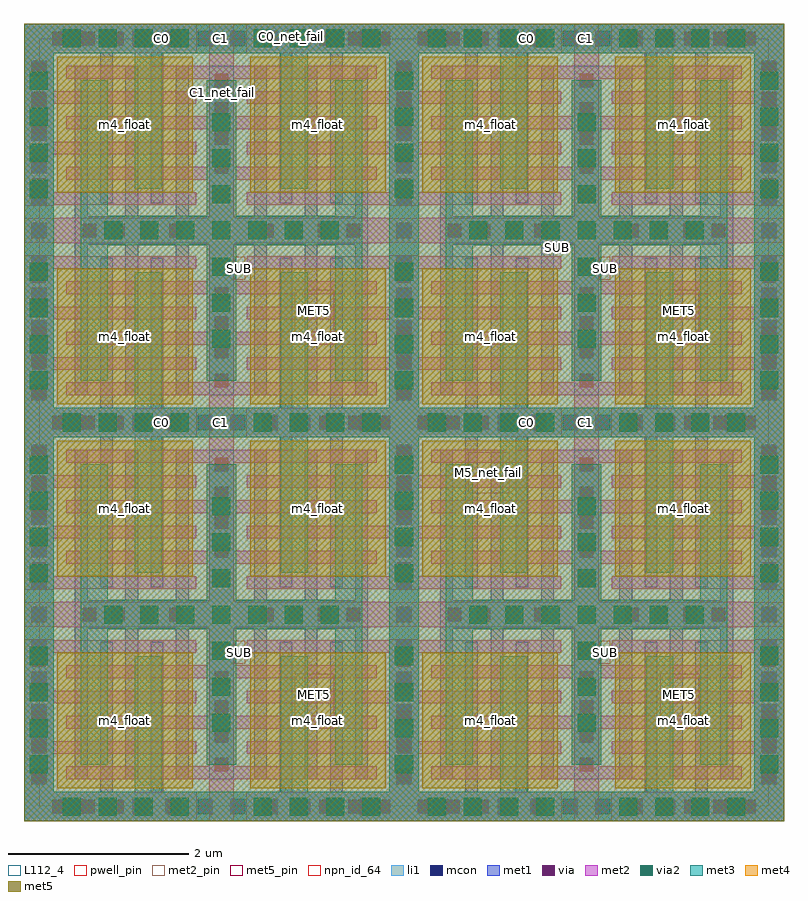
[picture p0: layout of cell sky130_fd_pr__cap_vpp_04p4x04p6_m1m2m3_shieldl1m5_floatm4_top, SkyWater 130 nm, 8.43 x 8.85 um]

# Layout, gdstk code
import gdstk
lib = gdstk.Library(unit=1e-6, precision=1e-09)
def R(c, l, rs):  # rectangles x0, y0, x1, y1
    for r in rs: c.add(gdstk.rectangle(r[:2], r[2:], *l))
def A(c, l, x, y, w, h, nx, ny, dx, dy):  # array of equal rectangles
    R(c, l, [(x+i*dx, y+j*dy, x+i*dx+w, y+j*dy+h) for i in range(nx) for j in range(ny)])
def P(c, l, *ps):  # polygons
    for p in ps: c.add(gdstk.Polygon(p, *l))
li1 = (67, 20)
mcon = (67, 44)
met1 = (68, 20)
via = (68, 44)
met2_pin = (69, 16)
met2 = (69, 20)
via2 = (69, 44)
met3 = (70, 20)
met4 = (71, 20)
met5_pin = (72, 16)
met5 = (72, 20)
npn_id_64 = (82, 64)
L112_4 = (112, 4)
pwell_pin = (122, 16)

sky130_fd_pr__cap_vpp_04 = lib.new_cell('sky130_fd_pr__cap_vpp_04p4x04p6_m1m2m3_shieldl1m5_floatm4_top')
R(sky130_fd_pr__cap_vpp_04, li1, [(0,0,4.38,4.59), (4.05,0,8.43,4.59), (0,4.26,4.38,8.85), (4.05,4.26,8.43,8.85)])
A(sky130_fd_pr__cap_vpp_04, mcon, 0.485, 0.08, 0.17, 0.17, 10, 2, 0.36, 8.52)
A(sky130_fd_pr__cap_vpp_04, mcon, 4.535, 0.08, 0.17, 0.17, 10, 2, 0.36, 8.52)
A(sky130_fd_pr__cap_vpp_04, mcon, 0.08, 0.41, 0.17, 0.17, 1, 11, 0, 0.36)
A(sky130_fd_pr__cap_vpp_04, mcon, 8.18, 0.41, 0.17, 0.17, 1, 11, 0, 0.36)
A(sky130_fd_pr__cap_vpp_04, mcon, 0.08, 4.67, 0.17, 0.17, 1, 11, 0, 0.36)
A(sky130_fd_pr__cap_vpp_04, mcon, 8.18, 4.67, 0.17, 0.17, 1, 11, 0, 0.36)
R(sky130_fd_pr__cap_vpp_04, mcon, [(4.13,0.41,4.3,0.58), (4.13,0.41,4.3,0.58), (4.13,0.77,4.3,0.94), (4.13,0.77,4.3,0.94), (4.13,1.13,4.3,1.3), (4.13,1.13,4.3,1.3), (4.13,1.49,4.3,1.66), (4.13,1.49,4.3,1.66), (4.13,1.85,4.3,2.02), (4.13,1.85,4.3,2.02), (4.13,2.21,4.3,2.38), (4.13,2.21,4.3,2.38), (4.13,2.57,4.3,2.74), (4.13,2.57,4.3,2.74), (4.13,2.93,4.3,3.1), (4.13,2.93,4.3,3.1), (4.13,3.29,4.3,3.46), (4.13,3.29,4.3,3.46), (4.13,3.65,4.3,3.82), (4.13,3.65,4.3,3.82), (4.13,4.01,4.3,4.18), (4.13,4.01,4.3,4.18), (0.485,4.34,0.655,4.51), (0.485,4.34,0.655,4.51), (0.845,4.34,1.015,4.51), (0.845,4.34,1.015,4.51), (1.205,4.34,1.375,4.51), (1.205,4.34,1.375,4.51), (1.565,4.34,1.735,4.51), (1.565,4.34,1.735,4.51), (1.925,4.34,2.095,4.51), (1.925,4.34,2.095,4.51), (2.285,4.34,2.455,4.51), (2.285,4.34,2.455,4.51), (2.645,4.34,2.815,4.51), (2.645,4.34,2.815,4.51), (3.005,4.34,3.175,4.51), (3.005,4.34,3.175,4.51), (3.365,4.34,3.535,4.51), (3.365,4.34,3.535,4.51), (3.725,4.34,3.895,4.51), (3.725,4.34,3.895,4.51), (4.535,4.34,4.705,4.51), (4.535,4.34,4.705,4.51), (4.895,4.34,5.065,4.51), (4.895,4.34,5.065,4.51), (5.255,4.34,5.425,4.51), (5.255,4.34,5.425,4.51), (5.615,4.34,5.785,4.51), (5.615,4.34,5.785,4.51), (5.975,4.34,6.145,4.51), (5.975,4.34,6.145,4.51), (6.335,4.34,6.505,4.51), (6.335,4.34,6.505,4.51), (6.695,4.34,6.865,4.51), (6.695,4.34,6.865,4.51), (7.055,4.34,7.225,4.51), (7.055,4.34,7.225,4.51), (7.415,4.34,7.585,4.51), (7.415,4.34,7.585,4.51), (7.775,4.34,7.945,4.51), (7.775,4.34,7.945,4.51), (4.13,4.67,4.3,4.84), (4.13,4.67,4.3,4.84), (4.13,5.03,4.3,5.2), (4.13,5.03,4.3,5.2), (4.13,5.39,4.3,5.56), (4.13,5.39,4.3,5.56), (4.13,5.75,4.3,5.92), (4.13,5.75,4.3,5.92), (4.13,6.11,4.3,6.28), (4.13,6.11,4.3,6.28), (4.13,6.47,4.3,6.64), (4.13,6.47,4.3,6.64), (4.13,6.83,4.3,7), (4.13,6.83,4.3,7), (4.13,7.19,4.3,7.36), (4.13,7.19,4.3,7.36), (4.13,7.55,4.3,7.72), (4.13,7.55,4.3,7.72), (4.13,7.91,4.3,8.08), (4.13,7.91,4.3,8.08), (4.13,8.27,4.3,8.44), (4.13,8.27,4.3,8.44)])
P(sky130_fd_pr__cap_vpp_04, met1, [(0.565,0.47),(0.565,4.12),(0.705,4.12),(0.705,2.455),(1.125,2.455),(1.125,4.12),(1.265,4.12),(1.265,2.455),(1.685,2.455),(1.685,4.12),(1.825,4.12),(1.825,2.455),(2.055,2.455),(2.055,4.12),(2.325,4.12),(2.325,2.455),(2.555,2.455),(2.555,4.12),(2.695,4.12),(2.695,2.455),(3.115,2.455),(3.115,4.12),(3.255,4.12),(3.255,2.455),(3.675,2.455),(3.675,4.12),(3.815,4.12),(3.815,0.47),(3.675,0.47),(3.675,2.135),(3.255,2.135),(3.255,0.47),(3.115,0.47),(3.115,2.135),(2.695,2.135),(2.695,0.47),(2.555,0.47),(2.555,2.135),(2.325,2.135),(2.325,0.47),(2.055,0.47),(2.055,2.135),(1.825,2.135),(1.825,0.47),(1.685,0.47),(1.685,2.135),(1.265,2.135),(1.265,0.47),(1.125,0.47),(1.125,2.135),(0.705,2.135),(0.705,0.47)],
  [(0,0),(0,4.59),(4.05,4.59),(4.05,4.26),(3.535,4.26),(3.535,2.595),(3.395,2.595),(3.395,4.26),(2.975,4.26),(2.975,2.595),(2.835,2.595),(2.835,4.26),(1.545,4.26),(1.545,2.595),(1.405,2.595),(1.405,4.26),(0.985,4.26),(0.985,2.595),(0.845,2.595),(0.845,4.26),(0.33,4.26),(0.33,0.33),(0.845,0.33),(0.845,1.995),(0.985,1.995),(0.985,0.33),(1.405,0.33),(1.405,1.995),(1.545,1.995),(1.545,0.33),(2.835,0.33),(2.835,1.995),(2.975,1.995),(2.975,0.33),(3.395,0.33),(3.395,1.995),(3.535,1.995),(3.535,0.33),(4.05,0.33),(4.05,4.59),(4.38,4.59),(4.38,0)],
  [(0.565,4.73),(0.565,8.38),(0.705,8.38),(0.705,6.715),(1.125,6.715),(1.125,8.38),(1.265,8.38),(1.265,6.715),(1.685,6.715),(1.685,8.38),(1.825,8.38),(1.825,6.715),(2.055,6.715),(2.055,8.38),(2.325,8.38),(2.325,6.715),(2.555,6.715),(2.555,8.38),(2.695,8.38),(2.695,6.715),(3.115,6.715),(3.115,8.38),(3.255,8.38),(3.255,6.715),(3.675,6.715),(3.675,8.38),(3.815,8.38),(3.815,4.73),(3.675,4.73),(3.675,6.395),(3.255,6.395),(3.255,4.73),(3.115,4.73),(3.115,6.395),(2.695,6.395),(2.695,4.73),(2.555,4.73),(2.555,6.395),(2.325,6.395),(2.325,4.73),(2.055,4.73),(2.055,6.395),(1.825,6.395),(1.825,4.73),(1.685,4.73),(1.685,6.395),(1.265,6.395),(1.265,4.73),(1.125,4.73),(1.125,6.395),(0.705,6.395),(0.705,4.73)],
  [(0,4.26),(0,8.85),(4.05,8.85),(4.05,8.52),(3.535,8.52),(3.535,6.855),(3.395,6.855),(3.395,8.52),(2.975,8.52),(2.975,6.855),(2.835,6.855),(2.835,8.52),(1.545,8.52),(1.545,6.855),(1.405,6.855),(1.405,8.52),(0.985,8.52),(0.985,6.855),(0.845,6.855),(0.845,8.52),(0.33,8.52),(0.33,4.59),(0.845,4.59),(0.845,6.255),(0.985,6.255),(0.985,4.59),(1.405,4.59),(1.405,6.255),(1.545,6.255),(1.545,4.59),(2.835,4.59),(2.835,6.255),(2.975,6.255),(2.975,4.59),(3.395,4.59),(3.395,6.255),(3.535,6.255),(3.535,4.59),(4.05,4.59),(4.05,8.85),(4.38,8.85),(4.38,4.26)],
  [(4.615,0.47),(4.615,4.12),(4.755,4.12),(4.755,2.455),(5.175,2.455),(5.175,4.12),(5.315,4.12),(5.315,2.455),(5.735,2.455),(5.735,4.12),(5.875,4.12),(5.875,2.455),(6.105,2.455),(6.105,4.12),(6.375,4.12),(6.375,2.455),(6.605,2.455),(6.605,4.12),(6.745,4.12),(6.745,2.455),(7.165,2.455),(7.165,4.12),(7.305,4.12),(7.305,2.455),(7.725,2.455),(7.725,4.12),(7.865,4.12),(7.865,0.47),(7.725,0.47),(7.725,2.135),(7.305,2.135),(7.305,0.47),(7.165,0.47),(7.165,2.135),(6.745,2.135),(6.745,0.47),(6.605,0.47),(6.605,2.135),(6.375,2.135),(6.375,0.47),(6.105,0.47),(6.105,2.135),(5.875,2.135),(5.875,0.47),(5.735,0.47),(5.735,2.135),(5.315,2.135),(5.315,0.47),(5.175,0.47),(5.175,2.135),(4.755,2.135),(4.755,0.47)],
  [(4.05,0),(4.05,4.59),(8.1,4.59),(8.1,4.26),(7.585,4.26),(7.585,2.595),(7.445,2.595),(7.445,4.26),(7.025,4.26),(7.025,2.595),(6.885,2.595),(6.885,4.26),(5.595,4.26),(5.595,2.595),(5.455,2.595),(5.455,4.26),(5.035,4.26),(5.035,2.595),(4.895,2.595),(4.895,4.26),(4.38,4.26),(4.38,0.33),(4.895,0.33),(4.895,1.995),(5.035,1.995),(5.035,0.33),(5.455,0.33),(5.455,1.995),(5.595,1.995),(5.595,0.33),(6.885,0.33),(6.885,1.995),(7.025,1.995),(7.025,0.33),(7.445,0.33),(7.445,1.995),(7.585,1.995),(7.585,0.33),(8.1,0.33),(8.1,4.59),(8.43,4.59),(8.43,0)],
  [(4.615,4.73),(4.615,8.38),(4.755,8.38),(4.755,6.715),(5.175,6.715),(5.175,8.38),(5.315,8.38),(5.315,6.715),(5.735,6.715),(5.735,8.38),(5.875,8.38),(5.875,6.715),(6.105,6.715),(6.105,8.38),(6.375,8.38),(6.375,6.715),(6.605,6.715),(6.605,8.38),(6.745,8.38),(6.745,6.715),(7.165,6.715),(7.165,8.38),(7.305,8.38),(7.305,6.715),(7.725,6.715),(7.725,8.38),(7.865,8.38),(7.865,4.73),(7.725,4.73),(7.725,6.395),(7.305,6.395),(7.305,4.73),(7.165,4.73),(7.165,6.395),(6.745,6.395),(6.745,4.73),(6.605,4.73),(6.605,6.395),(6.375,6.395),(6.375,4.73),(6.105,4.73),(6.105,6.395),(5.875,6.395),(5.875,4.73),(5.735,4.73),(5.735,6.395),(5.315,6.395),(5.315,4.73),(5.175,4.73),(5.175,6.395),(4.755,6.395),(4.755,4.73)],
  [(4.05,4.26),(4.05,8.85),(8.1,8.85),(8.1,8.52),(7.585,8.52),(7.585,6.855),(7.445,6.855),(7.445,8.52),(7.025,8.52),(7.025,6.855),(6.885,6.855),(6.885,8.52),(5.595,8.52),(5.595,6.855),(5.455,6.855),(5.455,8.52),(5.035,8.52),(5.035,6.855),(4.895,6.855),(4.895,8.52),(4.38,8.52),(4.38,4.59),(4.895,4.59),(4.895,6.255),(5.035,6.255),(5.035,4.59),(5.455,4.59),(5.455,6.255),(5.595,6.255),(5.595,4.59),(6.885,4.59),(6.885,6.255),(7.025,6.255),(7.025,4.59),(7.445,4.59),(7.445,6.255),(7.585,6.255),(7.585,4.59),(8.1,4.59),(8.1,8.85),(8.43,8.85),(8.43,4.26)])
A(sky130_fd_pr__cap_vpp_04, via, 0.09, 0.435, 0.15, 0.15, 1, 5, 0, 0.32)
A(sky130_fd_pr__cap_vpp_04, via, 8.19, 0.435, 0.15, 0.15, 1, 5, 0, 0.32)
A(sky130_fd_pr__cap_vpp_04, via, 2.115, 0.555, 0.15, 0.15, 1, 5, 0, 0.32)
A(sky130_fd_pr__cap_vpp_04, via, 6.165, 0.555, 0.15, 0.15, 1, 5, 0, 0.32)
A(sky130_fd_pr__cap_vpp_04, via, 0.65, 2.22, 0.15, 0.15, 4, 2, 0.32, 4.26)
A(sky130_fd_pr__cap_vpp_04, via, 2.62, 2.22, 0.15, 0.15, 4, 2, 0.32, 4.26)
A(sky130_fd_pr__cap_vpp_04, via, 4.7, 2.22, 0.15, 0.15, 4, 2, 0.32, 4.26)
A(sky130_fd_pr__cap_vpp_04, via, 6.67, 2.22, 0.15, 0.15, 4, 2, 0.32, 4.26)
A(sky130_fd_pr__cap_vpp_04, via, 2.115, 2.605, 0.15, 0.15, 1, 5, 0, 0.32)
A(sky130_fd_pr__cap_vpp_04, via, 6.165, 2.605, 0.15, 0.15, 1, 5, 0, 0.32)
A(sky130_fd_pr__cap_vpp_04, via, 0.09, 2.725, 0.15, 0.15, 1, 5, 0, 0.32)
A(sky130_fd_pr__cap_vpp_04, via, 8.19, 2.725, 0.15, 0.15, 1, 5, 0, 0.32)
A(sky130_fd_pr__cap_vpp_04, via, 0.09, 4.695, 0.15, 0.15, 1, 5, 0, 0.32)
A(sky130_fd_pr__cap_vpp_04, via, 8.19, 4.695, 0.15, 0.15, 1, 5, 0, 0.32)
A(sky130_fd_pr__cap_vpp_04, via, 2.115, 4.815, 0.15, 0.15, 1, 5, 0, 0.32)
A(sky130_fd_pr__cap_vpp_04, via, 6.165, 4.815, 0.15, 0.15, 1, 5, 0, 0.32)
A(sky130_fd_pr__cap_vpp_04, via, 2.115, 6.865, 0.15, 0.15, 1, 5, 0, 0.32)
A(sky130_fd_pr__cap_vpp_04, via, 6.165, 6.865, 0.15, 0.15, 1, 5, 0, 0.32)
A(sky130_fd_pr__cap_vpp_04, via, 0.09, 6.985, 0.15, 0.15, 1, 5, 0, 0.32)
A(sky130_fd_pr__cap_vpp_04, via, 8.19, 6.985, 0.15, 0.15, 1, 5, 0, 0.32)
R(sky130_fd_pr__cap_vpp_04, via, [(0.315,0.09,0.465,0.24), (0.315,0.09,0.465,0.24), (0.635,0.09,0.785,0.24), (0.635,0.09,0.785,0.24), (0.955,0.09,1.105,0.24), (0.955,0.09,1.105,0.24), (1.275,0.09,1.425,0.24), (1.275,0.09,1.425,0.24), (1.595,0.09,1.745,0.24), (1.595,0.09,1.745,0.24), (2.635,0.09,2.785,0.24), (2.635,0.09,2.785,0.24), (2.955,0.09,3.105,0.24), (2.955,0.09,3.105,0.24), (3.275,0.09,3.425,0.24), (3.275,0.09,3.425,0.24), (3.595,0.09,3.745,0.24), (3.595,0.09,3.745,0.24), (3.915,0.09,4.065,0.24), (3.915,0.09,4.065,0.24), (4.365,0.09,4.515,0.24), (4.365,0.09,4.515,0.24), (4.685,0.09,4.835,0.24), (4.685,0.09,4.835,0.24), (5.005,0.09,5.155,0.24), (5.005,0.09,5.155,0.24), (5.325,0.09,5.475,0.24), (5.325,0.09,5.475,0.24), (5.645,0.09,5.795,0.24), (5.645,0.09,5.795,0.24), (6.685,0.09,6.835,0.24), (6.685,0.09,6.835,0.24), (7.005,0.09,7.155,0.24), (7.005,0.09,7.155,0.24), (7.325,0.09,7.475,0.24), (7.325,0.09,7.475,0.24), (7.645,0.09,7.795,0.24), (7.645,0.09,7.795,0.24), (7.965,0.09,8.115,0.24), (7.965,0.09,8.115,0.24), (4.14,0.435,4.29,0.585), (4.14,0.435,4.29,0.585), (4.14,0.755,4.29,0.905), (4.14,0.755,4.29,0.905), (4.14,1.075,4.29,1.225), (4.14,1.075,4.29,1.225), (4.14,1.395,4.29,1.545), (4.14,1.395,4.29,1.545), (4.14,1.715,4.29,1.865), (4.14,1.715,4.29,1.865), (4.14,2.725,4.29,2.875), (4.14,2.725,4.29,2.875), (4.14,3.045,4.29,3.195), (4.14,3.045,4.29,3.195), (4.14,3.365,4.29,3.515), (4.14,3.365,4.29,3.515), (4.14,3.685,4.29,3.835), (4.14,3.685,4.29,3.835), (4.14,4.005,4.29,4.155), (4.14,4.005,4.29,4.155), (0.315,4.35,0.465,4.5), (0.315,4.35,0.465,4.5), (0.315,4.35,0.465,4.5), (0.315,4.35,0.465,4.5), (0.635,4.35,0.785,4.5), (0.635,4.35,0.785,4.5), (0.635,4.35,0.785,4.5), (0.635,4.35,0.785,4.5), (0.955,4.35,1.105,4.5), (0.955,4.35,1.105,4.5), (0.955,4.35,1.105,4.5), (0.955,4.35,1.105,4.5), (1.275,4.35,1.425,4.5), (1.275,4.35,1.425,4.5), (1.275,4.35,1.425,4.5), (1.275,4.35,1.425,4.5), (1.595,4.35,1.745,4.5), (1.595,4.35,1.745,4.5), (1.595,4.35,1.745,4.5), (1.595,4.35,1.745,4.5), (2.635,4.35,2.785,4.5), (2.635,4.35,2.785,4.5), (2.635,4.35,2.785,4.5), (2.635,4.35,2.785,4.5), (2.955,4.35,3.105,4.5), (2.955,4.35,3.105,4.5), (2.955,4.35,3.105,4.5), (2.955,4.35,3.105,4.5), (3.275,4.35,3.425,4.5), (3.275,4.35,3.425,4.5), (3.275,4.35,3.425,4.5), (3.275,4.35,3.425,4.5), (3.595,4.35,3.745,4.5), (3.595,4.35,3.745,4.5), (3.595,4.35,3.745,4.5), (3.595,4.35,3.745,4.5), (3.915,4.35,4.065,4.5), (3.915,4.35,4.065,4.5), (3.915,4.35,4.065,4.5), (3.915,4.35,4.065,4.5), (4.365,4.35,4.515,4.5), (4.365,4.35,4.515,4.5), (4.365,4.35,4.515,4.5), (4.365,4.35,4.515,4.5), (4.685,4.35,4.835,4.5), (4.685,4.35,4.835,4.5), (4.685,4.35,4.835,4.5), (4.685,4.35,4.835,4.5), (5.005,4.35,5.155,4.5), (5.005,4.35,5.155,4.5), (5.005,4.35,5.155,4.5), (5.005,4.35,5.155,4.5), (5.325,4.35,5.475,4.5), (5.325,4.35,5.475,4.5), (5.325,4.35,5.475,4.5), (5.325,4.35,5.475,4.5), (5.645,4.35,5.795,4.5), (5.645,4.35,5.795,4.5), (5.645,4.35,5.795,4.5), (5.645,4.35,5.795,4.5), (6.685,4.35,6.835,4.5), (6.685,4.35,6.835,4.5), (6.685,4.35,6.835,4.5), (6.685,4.35,6.835,4.5), (7.005,4.35,7.155,4.5), (7.005,4.35,7.155,4.5), (7.005,4.35,7.155,4.5), (7.005,4.35,7.155,4.5), (7.325,4.35,7.475,4.5), (7.325,4.35,7.475,4.5), (7.325,4.35,7.475,4.5), (7.325,4.35,7.475,4.5), (7.645,4.35,7.795,4.5), (7.645,4.35,7.795,4.5), (7.645,4.35,7.795,4.5), (7.645,4.35,7.795,4.5), (7.965,4.35,8.115,4.5), (7.965,4.35,8.115,4.5), (7.965,4.35,8.115,4.5), (7.965,4.35,8.115,4.5), (4.14,4.695,4.29,4.845), (4.14,4.695,4.29,4.845), (4.14,5.015,4.29,5.165), (4.14,5.015,4.29,5.165), (4.14,5.335,4.29,5.485), (4.14,5.335,4.29,5.485), (4.14,5.655,4.29,5.805), (4.14,5.655,4.29,5.805), (4.14,5.975,4.29,6.125), (4.14,5.975,4.29,6.125), (4.14,6.985,4.29,7.135), (4.14,6.985,4.29,7.135), (4.14,7.305,4.29,7.455), (4.14,7.305,4.29,7.455), (4.14,7.625,4.29,7.775), (4.14,7.625,4.29,7.775), (4.14,7.945,4.29,8.095), (4.14,7.945,4.29,8.095), (4.14,8.265,4.29,8.415), (4.14,8.265,4.29,8.415), (0.315,8.61,0.465,8.76), (0.315,8.61,0.465,8.76), (0.635,8.61,0.785,8.76), (0.635,8.61,0.785,8.76), (0.955,8.61,1.105,8.76), (0.955,8.61,1.105,8.76), (1.275,8.61,1.425,8.76), (1.275,8.61,1.425,8.76), (1.595,8.61,1.745,8.76), (1.595,8.61,1.745,8.76), (2.635,8.61,2.785,8.76), (2.635,8.61,2.785,8.76), (2.955,8.61,3.105,8.76), (2.955,8.61,3.105,8.76), (3.275,8.61,3.425,8.76), (3.275,8.61,3.425,8.76), (3.595,8.61,3.745,8.76), (3.595,8.61,3.745,8.76), (3.915,8.61,4.065,8.76), (3.915,8.61,4.065,8.76), (4.365,8.61,4.515,8.76), (4.365,8.61,4.515,8.76), (4.685,8.61,4.835,8.76), (4.685,8.61,4.835,8.76), (5.005,8.61,5.155,8.76), (5.005,8.61,5.155,8.76), (5.325,8.61,5.475,8.76), (5.325,8.61,5.475,8.76), (5.645,8.61,5.795,8.76), (5.645,8.61,5.795,8.76), (6.685,8.61,6.835,8.76), (6.685,8.61,6.835,8.76), (7.005,8.61,7.155,8.76), (7.005,8.61,7.155,8.76), (7.325,8.61,7.475,8.76), (7.325,8.61,7.475,8.76), (7.645,8.61,7.795,8.76), (7.645,8.61,7.795,8.76), (7.965,8.61,8.115,8.76), (7.965,8.61,8.115,8.76)])
R(sky130_fd_pr__cap_vpp_04, met2_pin, [(2.105,4.34,2.255,4.5), (6.155,4.34,6.305,4.5), (1.46,4.35,1.595,4.485), (5.51,4.35,5.645,4.485), (2.145,8.02,2.265,8.16), (2.105,8.6,2.255,8.76), (6.155,8.6,6.305,8.76), (1.46,8.61,1.595,8.745), (5.51,8.61,5.645,8.745), (2.89,8.63,3.045,8.775)])
P(sky130_fd_pr__cap_vpp_04, met2, [(0,2.57),(0,4.59),(1.915,4.59),(1.915,4.26),(0.33,4.26),(0.33,3.84),(1.91,3.84),(1.91,3.7),(0.33,3.7),(0.33,3.28),(1.91,3.28),(1.91,3.14),(0.33,3.14),(0.33,2.72),(1.91,2.72),(1.91,2.58),(0.33,2.58),(0.33,2.57)],
  [(0,0),(0,2.02),(0.33,2.02),(0.33,2.01),(1.91,2.01),(1.91,1.87),(0.33,1.87),(0.33,1.45),(1.91,1.45),(1.91,1.31),(0.33,1.31),(0.33,0.89),(1.91,0.89),(1.91,0.75),(0.33,0.75),(0.33,0.33),(1.915,0.33),(1.915,0)],
  [(4.05,2.57),(4.05,2.58),(2.47,2.58),(2.47,2.72),(4.05,2.72),(4.05,3.14),(2.47,3.14),(2.47,3.28),(4.05,3.28),(4.05,3.7),(2.47,3.7),(2.47,3.84),(4.05,3.84),(4.05,4.26),(2.465,4.26),(2.465,4.59),(4.38,4.59),(4.38,2.57)],
  [(2.055,0),(2.055,0.47),(0.47,0.47),(0.47,0.61),(2.05,0.61),(2.05,1.03),(0.47,1.03),(0.47,1.17),(2.05,1.17),(2.05,1.59),(0.47,1.59),(0.47,1.73),(2.05,1.73),(2.05,2.155),(0.37,2.155),(0.37,2.16),(0,2.16),(0,2.43),(0.37,2.43),(0.37,2.435),(2.05,2.435),(2.05,2.86),(0.47,2.86),(0.47,3),(2.05,3),(2.05,3.42),(0.47,3.42),(0.47,3.56),(2.05,3.56),(2.05,3.98),(0.47,3.98),(0.47,4.12),(2.055,4.12),(2.055,4.59),(2.325,4.59),(2.325,4.12),(3.91,4.12),(3.91,3.98),(2.33,3.98),(2.33,3.56),(3.91,3.56),(3.91,3.42),(2.33,3.42),(2.33,3),(3.91,3),(3.91,2.86),(2.33,2.86),(2.33,2.435),(4.01,2.435),(4.01,2.43),(4.38,2.43),(4.38,2.16),(4.01,2.16),(4.01,2.155),(2.33,2.155),(2.33,1.73),(3.91,1.73),(3.91,1.59),(2.33,1.59),(2.33,1.17),(3.91,1.17),(3.91,1.03),(2.33,1.03),(2.33,0.61),(3.91,0.61),(3.91,0.47),(2.325,0.47),(2.325,0)],
  [(2.465,0),(2.465,0.33),(4.05,0.33),(4.05,0.75),(2.47,0.75),(2.47,0.89),(4.05,0.89),(4.05,1.31),(2.47,1.31),(2.47,1.45),(4.05,1.45),(4.05,1.87),(2.47,1.87),(2.47,2.01),(4.05,2.01),(4.05,2.02),(4.38,2.02),(4.38,0)],
  [(0,6.83),(0,8.85),(1.915,8.85),(1.915,8.52),(0.33,8.52),(0.33,8.1),(1.91,8.1),(1.91,7.96),(0.33,7.96),(0.33,7.54),(1.91,7.54),(1.91,7.4),(0.33,7.4),(0.33,6.98),(1.91,6.98),(1.91,6.84),(0.33,6.84),(0.33,6.83)],
  [(0,4.26),(0,6.28),(0.33,6.28),(0.33,6.27),(1.91,6.27),(1.91,6.13),(0.33,6.13),(0.33,5.71),(1.91,5.71),(1.91,5.57),(0.33,5.57),(0.33,5.15),(1.91,5.15),(1.91,5.01),(0.33,5.01),(0.33,4.59),(1.915,4.59),(1.915,4.26)],
  [(4.05,6.83),(4.05,6.84),(2.47,6.84),(2.47,6.98),(4.05,6.98),(4.05,7.4),(2.47,7.4),(2.47,7.54),(4.05,7.54),(4.05,7.96),(2.47,7.96),(2.47,8.1),(4.05,8.1),(4.05,8.52),(2.465,8.52),(2.465,8.85),(4.38,8.85),(4.38,6.83)],
  [(2.055,4.26),(2.055,4.73),(0.47,4.73),(0.47,4.87),(2.05,4.87),(2.05,5.29),(0.47,5.29),(0.47,5.43),(2.05,5.43),(2.05,5.85),(0.47,5.85),(0.47,5.99),(2.05,5.99),(2.05,6.415),(0.37,6.415),(0.37,6.42),(0,6.42),(0,6.69),(0.37,6.69),(0.37,6.695),(2.05,6.695),(2.05,7.12),(0.47,7.12),(0.47,7.26),(2.05,7.26),(2.05,7.68),(0.47,7.68),(0.47,7.82),(2.05,7.82),(2.05,8.24),(0.47,8.24),(0.47,8.38),(2.055,8.38),(2.055,8.85),(2.325,8.85),(2.325,8.38),(3.91,8.38),(3.91,8.24),(2.33,8.24),(2.33,7.82),(3.91,7.82),(3.91,7.68),(2.33,7.68),(2.33,7.26),(3.91,7.26),(3.91,7.12),(2.33,7.12),(2.33,6.695),(4.01,6.695),(4.01,6.69),(4.38,6.69),(4.38,6.42),(4.01,6.42),(4.01,6.415),(2.33,6.415),(2.33,5.99),(3.91,5.99),(3.91,5.85),(2.33,5.85),(2.33,5.43),(3.91,5.43),(3.91,5.29),(2.33,5.29),(2.33,4.87),(3.91,4.87),(3.91,4.73),(2.325,4.73),(2.325,4.26)],
  [(2.465,4.26),(2.465,4.59),(4.05,4.59),(4.05,5.01),(2.47,5.01),(2.47,5.15),(4.05,5.15),(4.05,5.57),(2.47,5.57),(2.47,5.71),(4.05,5.71),(4.05,6.13),(2.47,6.13),(2.47,6.27),(4.05,6.27),(4.05,6.28),(4.38,6.28),(4.38,4.26)],
  [(4.05,2.57),(4.05,4.59),(5.965,4.59),(5.965,4.26),(4.38,4.26),(4.38,3.84),(5.96,3.84),(5.96,3.7),(4.38,3.7),(4.38,3.28),(5.96,3.28),(5.96,3.14),(4.38,3.14),(4.38,2.72),(5.96,2.72),(5.96,2.58),(4.38,2.58),(4.38,2.57)],
  [(4.05,0),(4.05,2.02),(4.38,2.02),(4.38,2.01),(5.96,2.01),(5.96,1.87),(4.38,1.87),(4.38,1.45),(5.96,1.45),(5.96,1.31),(4.38,1.31),(4.38,0.89),(5.96,0.89),(5.96,0.75),(4.38,0.75),(4.38,0.33),(5.965,0.33),(5.965,0)],
  [(8.1,2.57),(8.1,2.58),(6.52,2.58),(6.52,2.72),(8.1,2.72),(8.1,3.14),(6.52,3.14),(6.52,3.28),(8.1,3.28),(8.1,3.7),(6.52,3.7),(6.52,3.84),(8.1,3.84),(8.1,4.26),(6.515,4.26),(6.515,4.59),(8.43,4.59),(8.43,2.57)],
  [(6.105,0),(6.105,0.47),(4.52,0.47),(4.52,0.61),(6.1,0.61),(6.1,1.03),(4.52,1.03),(4.52,1.17),(6.1,1.17),(6.1,1.59),(4.52,1.59),(4.52,1.73),(6.1,1.73),(6.1,2.155),(4.42,2.155),(4.42,2.16),(4.05,2.16),(4.05,2.43),(4.42,2.43),(4.42,2.435),(6.1,2.435),(6.1,2.86),(4.52,2.86),(4.52,3),(6.1,3),(6.1,3.42),(4.52,3.42),(4.52,3.56),(6.1,3.56),(6.1,3.98),(4.52,3.98),(4.52,4.12),(6.105,4.12),(6.105,4.59),(6.375,4.59),(6.375,4.12),(7.96,4.12),(7.96,3.98),(6.38,3.98),(6.38,3.56),(7.96,3.56),(7.96,3.42),(6.38,3.42),(6.38,3),(7.96,3),(7.96,2.86),(6.38,2.86),(6.38,2.435),(8.06,2.435),(8.06,2.43),(8.43,2.43),(8.43,2.16),(8.06,2.16),(8.06,2.155),(6.38,2.155),(6.38,1.73),(7.96,1.73),(7.96,1.59),(6.38,1.59),(6.38,1.17),(7.96,1.17),(7.96,1.03),(6.38,1.03),(6.38,0.61),(7.96,0.61),(7.96,0.47),(6.375,0.47),(6.375,0)],
  [(6.515,0),(6.515,0.33),(8.1,0.33),(8.1,0.75),(6.52,0.75),(6.52,0.89),(8.1,0.89),(8.1,1.31),(6.52,1.31),(6.52,1.45),(8.1,1.45),(8.1,1.87),(6.52,1.87),(6.52,2.01),(8.1,2.01),(8.1,2.02),(8.43,2.02),(8.43,0)],
  [(4.05,6.83),(4.05,8.85),(5.965,8.85),(5.965,8.52),(4.38,8.52),(4.38,8.1),(5.96,8.1),(5.96,7.96),(4.38,7.96),(4.38,7.54),(5.96,7.54),(5.96,7.4),(4.38,7.4),(4.38,6.98),(5.96,6.98),(5.96,6.84),(4.38,6.84),(4.38,6.83)],
  [(4.05,4.26),(4.05,6.28),(4.38,6.28),(4.38,6.27),(5.96,6.27),(5.96,6.13),(4.38,6.13),(4.38,5.71),(5.96,5.71),(5.96,5.57),(4.38,5.57),(4.38,5.15),(5.96,5.15),(5.96,5.01),(4.38,5.01),(4.38,4.59),(5.965,4.59),(5.965,4.26)],
  [(8.1,6.83),(8.1,6.84),(6.52,6.84),(6.52,6.98),(8.1,6.98),(8.1,7.4),(6.52,7.4),(6.52,7.54),(8.1,7.54),(8.1,7.96),(6.52,7.96),(6.52,8.1),(8.1,8.1),(8.1,8.52),(6.515,8.52),(6.515,8.85),(8.43,8.85),(8.43,6.83)],
  [(6.105,4.26),(6.105,4.73),(4.52,4.73),(4.52,4.87),(6.1,4.87),(6.1,5.29),(4.52,5.29),(4.52,5.43),(6.1,5.43),(6.1,5.85),(4.52,5.85),(4.52,5.99),(6.1,5.99),(6.1,6.415),(4.42,6.415),(4.42,6.42),(4.05,6.42),(4.05,6.69),(4.42,6.69),(4.42,6.695),(6.1,6.695),(6.1,7.12),(4.52,7.12),(4.52,7.26),(6.1,7.26),(6.1,7.68),(4.52,7.68),(4.52,7.82),(6.1,7.82),(6.1,8.24),(4.52,8.24),(4.52,8.38),(6.105,8.38),(6.105,8.85),(6.375,8.85),(6.375,8.38),(7.96,8.38),(7.96,8.24),(6.38,8.24),(6.38,7.82),(7.96,7.82),(7.96,7.68),(6.38,7.68),(6.38,7.26),(7.96,7.26),(7.96,7.12),(6.38,7.12),(6.38,6.695),(8.06,6.695),(8.06,6.69),(8.43,6.69),(8.43,6.42),(8.06,6.42),(8.06,6.415),(6.38,6.415),(6.38,5.99),(7.96,5.99),(7.96,5.85),(6.38,5.85),(6.38,5.43),(7.96,5.43),(7.96,5.29),(6.38,5.29),(6.38,4.87),(7.96,4.87),(7.96,4.73),(6.375,4.73),(6.375,4.26)],
  [(6.515,4.26),(6.515,4.59),(8.1,4.59),(8.1,5.01),(6.52,5.01),(6.52,5.15),(8.1,5.15),(8.1,5.57),(6.52,5.57),(6.52,5.71),(8.1,5.71),(8.1,6.13),(6.52,6.13),(6.52,6.27),(8.1,6.27),(8.1,6.28),(8.43,6.28),(8.43,4.26)])
A(sky130_fd_pr__cap_vpp_04, via2, 0.43, 0.065, 0.2, 0.2, 4, 2, 0.4, 8.52)
A(sky130_fd_pr__cap_vpp_04, via2, 2.55, 0.065, 0.2, 0.2, 4, 2, 0.4, 8.52)
A(sky130_fd_pr__cap_vpp_04, via2, 4.48, 0.065, 0.2, 0.2, 4, 2, 0.4, 8.52)
A(sky130_fd_pr__cap_vpp_04, via2, 6.6, 0.065, 0.2, 0.2, 4, 2, 0.4, 8.52)
A(sky130_fd_pr__cap_vpp_04, via2, 0.065, 0.535, 0.2, 0.2, 1, 4, 0, 0.4)
A(sky130_fd_pr__cap_vpp_04, via2, 8.165, 0.535, 0.2, 0.2, 1, 4, 0, 0.4)
A(sky130_fd_pr__cap_vpp_04, via2, 2.09, 0.995, 0.2, 0.2, 1, 4, 0, 0.4)
A(sky130_fd_pr__cap_vpp_04, via2, 6.14, 0.995, 0.2, 0.2, 1, 4, 0, 0.4)
A(sky130_fd_pr__cap_vpp_04, via2, 0.89, 2.195, 0.2, 0.2, 4, 2, 0.4, 4.26)
A(sky130_fd_pr__cap_vpp_04, via2, 2.09, 2.195, 0.2, 0.2, 1, 4, 0, 0.4)
A(sky130_fd_pr__cap_vpp_04, via2, 2.09, 2.195, 0.2, 0.2, 4, 2, 0.4, 4.26)
A(sky130_fd_pr__cap_vpp_04, via2, 4.94, 2.195, 0.2, 0.2, 4, 2, 0.4, 4.26)
A(sky130_fd_pr__cap_vpp_04, via2, 6.14, 2.195, 0.2, 0.2, 1, 4, 0, 0.4)
A(sky130_fd_pr__cap_vpp_04, via2, 6.14, 2.195, 0.2, 0.2, 4, 2, 0.4, 4.26)
A(sky130_fd_pr__cap_vpp_04, via2, 0.065, 2.655, 0.2, 0.2, 1, 4, 0, 0.4)
A(sky130_fd_pr__cap_vpp_04, via2, 8.165, 2.655, 0.2, 0.2, 1, 4, 0, 0.4)
A(sky130_fd_pr__cap_vpp_04, via2, 0.065, 4.795, 0.2, 0.2, 1, 4, 0, 0.4)
A(sky130_fd_pr__cap_vpp_04, via2, 8.165, 4.795, 0.2, 0.2, 1, 4, 0, 0.4)
A(sky130_fd_pr__cap_vpp_04, via2, 2.09, 5.255, 0.2, 0.2, 1, 4, 0, 0.4)
A(sky130_fd_pr__cap_vpp_04, via2, 6.14, 5.255, 0.2, 0.2, 1, 4, 0, 0.4)
A(sky130_fd_pr__cap_vpp_04, via2, 2.09, 6.455, 0.2, 0.2, 1, 4, 0, 0.4)
A(sky130_fd_pr__cap_vpp_04, via2, 6.14, 6.455, 0.2, 0.2, 1, 4, 0, 0.4)
A(sky130_fd_pr__cap_vpp_04, via2, 0.065, 6.915, 0.2, 0.2, 1, 4, 0, 0.4)
A(sky130_fd_pr__cap_vpp_04, via2, 8.165, 6.915, 0.2, 0.2, 1, 4, 0, 0.4)
R(sky130_fd_pr__cap_vpp_04, via2, [(4.115,0.535,4.315,0.735), (4.115,0.535,4.315,0.735), (4.115,0.935,4.315,1.135), (4.115,0.935,4.315,1.135), (4.115,1.335,4.315,1.535), (4.115,1.335,4.315,1.535), (4.115,1.735,4.315,1.935), (4.115,1.735,4.315,1.935), (2.09,2.195,2.29,2.395), (2.09,2.195,2.29,2.395), (2.09,2.195,2.29,2.395), (2.09,2.195,2.29,2.395), (6.14,2.195,6.34,2.395), (6.14,2.195,6.34,2.395), (6.14,2.195,6.34,2.395), (6.14,2.195,6.34,2.395), (4.115,2.655,4.315,2.855), (4.115,2.655,4.315,2.855), (4.115,3.055,4.315,3.255), (4.115,3.055,4.315,3.255), (4.115,3.455,4.315,3.655), (4.115,3.455,4.315,3.655), (4.115,3.855,4.315,4.055), (4.115,3.855,4.315,4.055), (0.43,4.325,0.63,4.525), (0.43,4.325,0.63,4.525), (0.83,4.325,1.03,4.525), (0.83,4.325,1.03,4.525), (1.23,4.325,1.43,4.525), (1.23,4.325,1.43,4.525), (1.63,4.325,1.83,4.525), (1.63,4.325,1.83,4.525), (2.55,4.325,2.75,4.525), (2.55,4.325,2.75,4.525), (2.95,4.325,3.15,4.525), (2.95,4.325,3.15,4.525), (3.35,4.325,3.55,4.525), (3.35,4.325,3.55,4.525), (3.75,4.325,3.95,4.525), (3.75,4.325,3.95,4.525), (4.48,4.325,4.68,4.525), (4.48,4.325,4.68,4.525), (4.88,4.325,5.08,4.525), (4.88,4.325,5.08,4.525), (5.28,4.325,5.48,4.525), (5.28,4.325,5.48,4.525), (5.68,4.325,5.88,4.525), (5.68,4.325,5.88,4.525), (6.6,4.325,6.8,4.525), (6.6,4.325,6.8,4.525), (7,4.325,7.2,4.525), (7,4.325,7.2,4.525), (7.4,4.325,7.6,4.525), (7.4,4.325,7.6,4.525), (7.8,4.325,8,4.525), (7.8,4.325,8,4.525), (4.115,4.795,4.315,4.995), (4.115,4.795,4.315,4.995), (4.115,5.195,4.315,5.395), (4.115,5.195,4.315,5.395), (4.115,5.595,4.315,5.795), (4.115,5.595,4.315,5.795), (4.115,5.995,4.315,6.195), (4.115,5.995,4.315,6.195), (2.09,6.455,2.29,6.655), (2.09,6.455,2.29,6.655), (2.09,6.455,2.29,6.655), (2.09,6.455,2.29,6.655), (6.14,6.455,6.34,6.655), (6.14,6.455,6.34,6.655), (6.14,6.455,6.34,6.655), (6.14,6.455,6.34,6.655), (4.115,6.915,4.315,7.115), (4.115,6.915,4.315,7.115), (4.115,7.315,4.315,7.515), (4.115,7.315,4.315,7.515), (4.115,7.715,4.315,7.915), (4.115,7.715,4.315,7.915), (4.115,8.115,4.315,8.315), (4.115,8.115,4.315,8.315)])
P(sky130_fd_pr__cap_vpp_04, met3, [(0,0),(0,4.59),(4.05,4.59),(4.05,4.26),(3.15,4.26),(3.15,2.76),(2.85,2.76),(2.85,4.26),(1.53,4.26),(1.53,2.76),(1.23,2.76),(1.23,4.26),(0.33,4.26),(0.33,0.33),(1.23,0.33),(1.23,1.83),(1.53,1.83),(1.53,0.33),(2.85,0.33),(2.85,1.83),(3.15,1.83),(3.15,0.33),(4.05,0.33),(4.05,4.59),(4.38,4.59),(4.38,0)],
  [(0.63,0.63),(0.63,3.96),(0.93,3.96),(0.93,2.46),(2.025,2.46),(2.025,3.96),(2.355,3.96),(2.355,2.46),(3.45,2.46),(3.45,3.96),(3.75,3.96),(3.75,0.63),(3.45,0.63),(3.45,2.13),(2.355,2.13),(2.355,0.63),(2.025,0.63),(2.025,2.13),(0.93,2.13),(0.93,0.63)],
  [(0,4.26),(0,8.85),(4.05,8.85),(4.05,8.52),(3.15,8.52),(3.15,7.02),(2.85,7.02),(2.85,8.52),(1.53,8.52),(1.53,7.02),(1.23,7.02),(1.23,8.52),(0.33,8.52),(0.33,4.59),(1.23,4.59),(1.23,6.09),(1.53,6.09),(1.53,4.59),(2.85,4.59),(2.85,6.09),(3.15,6.09),(3.15,4.59),(4.05,4.59),(4.05,8.85),(4.38,8.85),(4.38,4.26)],
  [(0.63,4.89),(0.63,8.22),(0.93,8.22),(0.93,6.72),(2.025,6.72),(2.025,8.22),(2.355,8.22),(2.355,6.72),(3.45,6.72),(3.45,8.22),(3.75,8.22),(3.75,4.89),(3.45,4.89),(3.45,6.39),(2.355,6.39),(2.355,4.89),(2.025,4.89),(2.025,6.39),(0.93,6.39),(0.93,4.89)],
  [(4.05,0),(4.05,4.59),(8.1,4.59),(8.1,4.26),(7.2,4.26),(7.2,2.76),(6.9,2.76),(6.9,4.26),(5.58,4.26),(5.58,2.76),(5.28,2.76),(5.28,4.26),(4.38,4.26),(4.38,0.33),(5.28,0.33),(5.28,1.83),(5.58,1.83),(5.58,0.33),(6.9,0.33),(6.9,1.83),(7.2,1.83),(7.2,0.33),(8.1,0.33),(8.1,4.59),(8.43,4.59),(8.43,0)],
  [(4.68,0.63),(4.68,3.96),(4.98,3.96),(4.98,2.46),(6.075,2.46),(6.075,3.96),(6.405,3.96),(6.405,2.46),(7.5,2.46),(7.5,3.96),(7.8,3.96),(7.8,0.63),(7.5,0.63),(7.5,2.13),(6.405,2.13),(6.405,0.63),(6.075,0.63),(6.075,2.13),(4.98,2.13),(4.98,0.63)],
  [(4.05,4.26),(4.05,8.85),(8.1,8.85),(8.1,8.52),(7.2,8.52),(7.2,7.02),(6.9,7.02),(6.9,8.52),(5.58,8.52),(5.58,7.02),(5.28,7.02),(5.28,8.52),(4.38,8.52),(4.38,4.59),(5.28,4.59),(5.28,6.09),(5.58,6.09),(5.58,4.59),(6.9,4.59),(6.9,6.09),(7.2,6.09),(7.2,4.59),(8.1,4.59),(8.1,8.85),(8.43,8.85),(8.43,4.26)],
  [(4.68,4.89),(4.68,8.22),(4.98,8.22),(4.98,6.72),(6.075,6.72),(6.075,8.22),(6.405,8.22),(6.405,6.72),(7.5,6.72),(7.5,8.22),(7.8,8.22),(7.8,4.89),(7.5,4.89),(7.5,6.39),(6.405,6.39),(6.405,4.89),(6.075,4.89),(6.075,6.39),(4.98,6.39),(4.98,4.89)])
R(sky130_fd_pr__cap_vpp_04, met4, [(0.37,0.37,1.87,1.87), (2.51,0.37,4.01,1.87), (4.42,0.37,5.92,1.87), (6.56,0.37,8.06,1.87), (0.37,2.72,1.87,4.22), (2.51,2.72,4.01,4.22), (4.42,2.72,5.92,4.22), (6.56,2.72,8.06,4.22), (0.37,4.63,1.87,6.13), (2.51,4.63,4.01,6.13), (4.42,4.63,5.92,6.13), (6.56,4.63,8.06,6.13), (0.37,6.98,1.87,8.48), (2.51,6.98,4.01,8.48), (4.42,6.98,5.92,8.48), (6.56,6.98,8.06,8.48)])
R(sky130_fd_pr__cap_vpp_04, met5_pin, [(3.005,1.165,3.44,1.64), (7.055,1.165,7.49,1.64), (4.93,3.64,5.385,4.095), (3.005,5.425,3.44,5.9), (7.055,5.425,7.49,5.9)])
R(sky130_fd_pr__cap_vpp_04, met5, [(0,0,4.38,4.59), (4.05,0,8.43,4.59), (0,4.26,4.38,8.85), (4.05,4.26,8.43,8.85)])
R(sky130_fd_pr__cap_vpp_04, npn_id_64, [(0.17,0.17,4.21,4.42), (4.22,0.17,8.26,4.42), (0.17,4.43,4.21,8.68), (4.22,4.43,8.26,8.68)])
R(sky130_fd_pr__cap_vpp_04, L112_4, [(0,0,4.38,4.59), (4.05,0,8.43,4.59), (0,4.26,4.38,8.85), (4.05,4.26,8.43,8.85)])
R(sky130_fd_pr__cap_vpp_04, pwell_pin, [(2.335,1.75,2.455,2.005), (6.385,1.75,6.505,2.005), (2.335,6.01,2.455,6.265), (6.385,6.01,6.505,6.265), (5.895,6.345,5.945,6.395)])
sky130_fd_pr__cap_vpp_04.add(gdstk.Label('m4_float', (3.26,3.47), layer=83, texttype=44))
sky130_fd_pr__cap_vpp_04.add(gdstk.Label('m4_float', (3.26,1.12), layer=83, texttype=44))
sky130_fd_pr__cap_vpp_04.add(gdstk.Label('m4_float', (1.12,3.47), layer=83, texttype=44))
sky130_fd_pr__cap_vpp_04.add(gdstk.Label('m4_float', (1.12,1.12), layer=83, texttype=44))
sky130_fd_pr__cap_vpp_04.add(gdstk.Label('m4_float', (3.26,7.73), layer=83, texttype=44))
sky130_fd_pr__cap_vpp_04.add(gdstk.Label('m4_float', (3.26,5.38), layer=83, texttype=44))
sky130_fd_pr__cap_vpp_04.add(gdstk.Label('m4_float', (1.12,7.73), layer=83, texttype=44))
sky130_fd_pr__cap_vpp_04.add(gdstk.Label('m4_float', (1.12,5.38), layer=83, texttype=44))
sky130_fd_pr__cap_vpp_04.add(gdstk.Label('m4_float', (7.31,3.47), layer=83, texttype=44))
sky130_fd_pr__cap_vpp_04.add(gdstk.Label('m4_float', (7.31,1.12), layer=83, texttype=44))
sky130_fd_pr__cap_vpp_04.add(gdstk.Label('m4_float', (5.17,3.47), layer=83, texttype=44))
sky130_fd_pr__cap_vpp_04.add(gdstk.Label('m4_float', (5.17,1.12), layer=83, texttype=44))
sky130_fd_pr__cap_vpp_04.add(gdstk.Label('m4_float', (7.31,7.73), layer=83, texttype=44))
sky130_fd_pr__cap_vpp_04.add(gdstk.Label('m4_float', (7.31,5.38), layer=83, texttype=44))
sky130_fd_pr__cap_vpp_04.add(gdstk.Label('m4_float', (5.17,7.73), layer=83, texttype=44))
sky130_fd_pr__cap_vpp_04.add(gdstk.Label('m4_float', (5.17,5.38), layer=83, texttype=44))
sky130_fd_pr__cap_vpp_04.add(gdstk.Label('M5_net_fail', (5.155,3.865), layer=72, texttype=5))
sky130_fd_pr__cap_vpp_04.add(gdstk.Label('MET5', (3.225,1.405), layer=72, texttype=5))
sky130_fd_pr__cap_vpp_04.add(gdstk.Label('MET5', (3.225,5.665), layer=72, texttype=5))
sky130_fd_pr__cap_vpp_04.add(gdstk.Label('MET5', (7.275,1.405), layer=72, texttype=5))
sky130_fd_pr__cap_vpp_04.add(gdstk.Label('MET5', (7.275,5.665), layer=72, texttype=5))
sky130_fd_pr__cap_vpp_04.add(gdstk.Label('C0_net_fail', (2.97,8.705), layer=69, texttype=5))
sky130_fd_pr__cap_vpp_04.add(gdstk.Label('C1_net_fail', (2.205,8.09), layer=69, texttype=5))
sky130_fd_pr__cap_vpp_04.add(gdstk.Label('C0', (1.525,4.42), layer=69, texttype=5))
sky130_fd_pr__cap_vpp_04.add(gdstk.Label('C1', (2.18,4.42), layer=69, texttype=5))
sky130_fd_pr__cap_vpp_04.add(gdstk.Label('C0', (1.525,8.68), layer=69, texttype=5))
sky130_fd_pr__cap_vpp_04.add(gdstk.Label('C1', (2.18,8.68), layer=69, texttype=5))
sky130_fd_pr__cap_vpp_04.add(gdstk.Label('C0', (5.575,4.42), layer=69, texttype=5))
sky130_fd_pr__cap_vpp_04.add(gdstk.Label('C1', (6.23,4.42), layer=69, texttype=5))
sky130_fd_pr__cap_vpp_04.add(gdstk.Label('C0', (5.575,8.68), layer=69, texttype=5))
sky130_fd_pr__cap_vpp_04.add(gdstk.Label('C1', (6.23,8.68), layer=69, texttype=5))
sky130_fd_pr__cap_vpp_04.add(gdstk.Label('SUB', (2.395,1.875), layer=64, texttype=59))
sky130_fd_pr__cap_vpp_04.add(gdstk.Label('SUB', (2.395,6.135), layer=64, texttype=59))
sky130_fd_pr__cap_vpp_04.add(gdstk.Label('SUB', (6.445,1.875), layer=64, texttype=59))
sky130_fd_pr__cap_vpp_04.add(gdstk.Label('SUB', (6.445,6.135), layer=64, texttype=59))
sky130_fd_pr__cap_vpp_04.add(gdstk.Label('SUB', (5.92,6.37), layer=64, texttype=59))

lib.write_gds('sky130_fd_pr__cap_vpp_04p4x04p6_m1m2m3_shieldl1m5_floatm4_top.gds')
